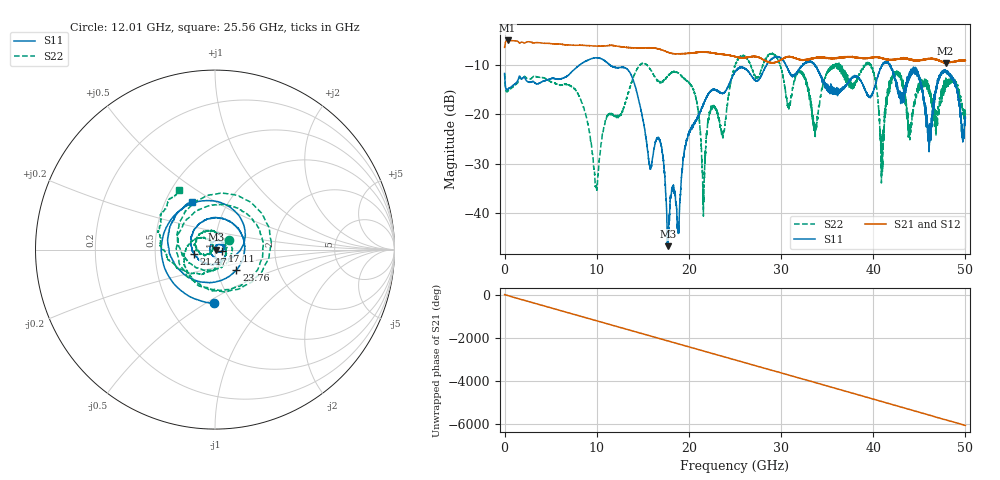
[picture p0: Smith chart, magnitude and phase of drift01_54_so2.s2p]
!Created with skrf (http://scikit-rf.org).
# Hz S RI R 50.0
!freq ReS11 ImS11 ReS21 ImS21 ReS12 ImS12 ReS22 ImS22
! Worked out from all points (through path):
!   10001 points, 300 kHz to 50 GHz, reference 50 ohm
!   highest |S21| = -5.05 dB at 315.3 MHz (marker M1); lowest = -9.7 dB at 47.85 GHz (marker M2)
!   group delay of S21, straight-line fit = 336 ps
!   lowest |S11| = -46.6 dB at 17.7 GHz (marker M3), VSWR 1.01, Z = 50.5 - j0.0807 ohm
!   |S11| at or under -10 dB: start of sweep to 8.153 GHz; 11.43 GHz to 28.43 GHz (17.01 GHz wide, 85.3 % of centre); 41.8 GHz to end of sweep (the widest 3 of 10)
!   |S22| runs from -40.6 to -7.6 dB; largest |S21 - S12| = 0.013
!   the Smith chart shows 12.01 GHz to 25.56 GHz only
!   S11 on the Smith chart (normalised r, x): 12.01 GHz: 0.83, -0.54; 17.11 GHz: 1.09, -0.01; 21.47 GHz: 0.79, -0.03; 23.76 GHz: 1.23, -0.29; 25.56 GHz: 0.68, +0.39
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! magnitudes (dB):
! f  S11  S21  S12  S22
! 300 kHz  -11.7  -6.4  -6.5  -11.7
! 315.3 MHz  -15.0  -5.1  -5.1  -15.4
! 8.335 GHz  -9.7  -6.0  -6.0  -17.4
! 9.935 GHz  -8.6  -6.2  -6.2  -34.5
! 12.01 GHz  -10.5  -6.1  -6.2  -20.4
! 16.67 GHz  -24.7  -6.7  -6.7  -13.4
! 17.11 GHz  -27.7  -7.0  -7.0  -13.3
! 17.7 GHz  -46.6  -7.4  -7.4  -12.3
! 20.5 GHz  -22.1  -7.6  -7.6  -15.0
! 21.47 GHz  -18.4  -7.4  -7.4  -31.4
! 22.46 GHz  -15.2  -7.5  -7.5  -18.9
! 23.76 GHz  -15.7  -7.9  -7.9  -23.6
! 25 GHz  -11.4  -8.3  -8.4  -10.2
! 25.56 GHz  -10.6  -8.6  -8.6  -8.3
! 33.34 GHz  -9.5  -8.7  -8.7  -19.5
! 39.49 GHz  -16.4  -8.6  -8.6  -9.9
! 40.94 GHz  -10.0  -8.6  -8.6  -29.3
! 41.67 GHz  -9.7  -8.9  -9.0  -15.2
! 44.78 GHz  -12.3  -9.2  -9.1  -15.0
! 46.1 GHz  -25.0  -8.8  -8.8  -15.3
! 47.85 GHz  -11.4  -9.7  -9.6  -13.8
! 50 GHz  -20.7  -9.1  -9.1  -20.3
